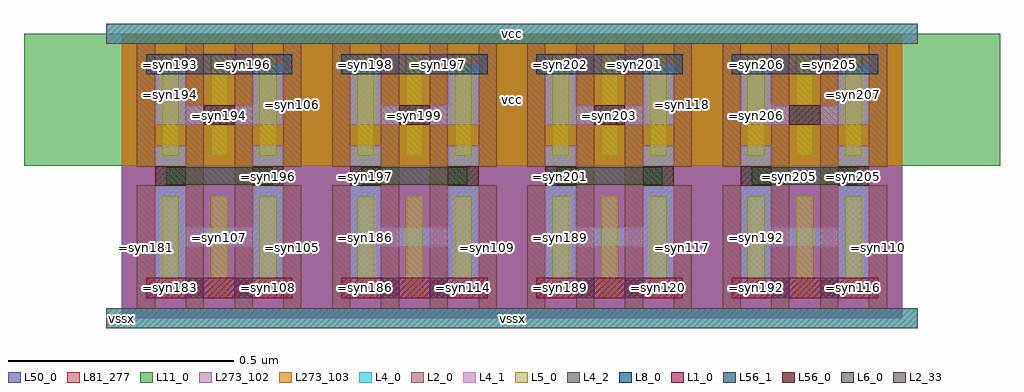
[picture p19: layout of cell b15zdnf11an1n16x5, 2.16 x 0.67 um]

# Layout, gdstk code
import gdstk
lib = gdstk.Library(unit=1e-6, precision=5e-10)
def R(c, l, rs):  # rectangles x0, y0, x1, y1
    for r in rs: c.add(gdstk.rectangle(r[:2], r[2:], *l))
def A(c, l, x, y, w, h, nx, ny, dx, dy):  # array of equal rectangles
    R(c, l, [(x+i*dx, y+j*dy, x+i*dx+w, y+j*dy+h) for i in range(nx) for j in range(ny)])
def P(c, l, *ps):  # polygons
    for p in ps: c.add(gdstk.Polygon(p, *l))
L1_0 = (1, 0)
L2_0 = (2, 0)
L2_33 = (2, 33)
L4_0 = (4, 0)
L4_1 = (4, 1)
L4_2 = (4, 2)
L5_0 = (5, 0)
L6_0 = (6, 0)
L8_0 = (8, 0)
L11_0 = (11, 0)
L50_0 = (50, 0)
L56_0 = (56, 0)
L56_1 = (56, 1)
L81_277 = (81, 277)
L273_102 = (273, 102)
L273_103 = (273, 103)

b15zdnf11an1n16x5 = lib.new_cell('b15zdnf11an1n16x5')
A(b15zdnf11an1n16x5, L1_0, 0.054, 0.045, 0.324, 0.045, 4, 1, 0.432, 0)
R(b15zdnf11an1n16x5, L2_0, [(0.034,0.021,0.074,0.294), (0.142,0.021,0.182,0.609), (0.25,0.021,0.29,0.609), (0.358,0.021,0.398,0.294), (0.466,0.021,0.506,0.294), (0.574,0.021,0.614,0.609), (0.682,0.021,0.722,0.609), (0.79,0.021,0.83,0.294), (0.898,0.021,0.938,0.294), (1.006,0.021,1.046,0.609), (1.114,0.021,1.154,0.609), (1.222,0.021,1.262,0.294), (1.33,0.021,1.37,0.294), (1.438,0.021,1.478,0.609), (1.546,0.021,1.586,0.609), (1.654,0.021,1.694,0.294), (0.034,0.336,0.074,0.609), (0.358,0.336,0.398,0.609), (0.466,0.336,0.506,0.609), (0.79,0.336,0.83,0.609), (0.898,0.336,0.938,0.609), (1.222,0.336,1.262,0.609), (1.33,0.336,1.37,0.609), (1.654,0.336,1.694,0.609)])
R(b15zdnf11an1n16x5, L2_33, [(0.142,0.045,0.182,0.09), (0.25,0.045,0.29,0.09), (0.574,0.045,0.614,0.09), (0.682,0.045,0.722,0.09), (1.006,0.045,1.046,0.09), (1.114,0.045,1.154,0.09), (1.438,0.045,1.478,0.09), (1.546,0.045,1.586,0.09), (0.142,0.54,0.182,0.585), (0.25,0.54,0.29,0.585), (0.574,0.54,0.614,0.585), (0.682,0.54,0.722,0.585), (1.006,0.54,1.046,0.585), (1.114,0.54,1.154,0.585), (1.438,0.54,1.478,0.585), (1.546,0.54,1.586,0.585)])
R(b15zdnf11an1n16x5, L4_0, [(-0.034,-0.022,1.762,0.022), (-0.034,0.608,1.762,0.652)])
P(b15zdnf11an1n16x5, L4_0, [(0.358,0.428),(0.074,0.428),(0.074,0.562),(0.142,0.562),(0.142,0.472),(0.29,0.472),(0.29,0.562),(0.358,0.562)],
  [(0.358,0.068),(0.29,0.068),(0.29,0.158),(0.142,0.158),(0.142,0.068),(0.074,0.068),(0.074,0.382),(0.142,0.382),(0.142,0.202),(0.29,0.202),(0.29,0.382),(0.358,0.382)],
  [(0.79,0.428),(0.506,0.428),(0.506,0.562),(0.574,0.562),(0.574,0.472),(0.722,0.472),(0.722,0.562),(0.79,0.562)],
  [(0.79,0.068),(0.722,0.068),(0.722,0.158),(0.574,0.158),(0.574,0.068),(0.506,0.068),(0.506,0.382),(0.574,0.382),(0.574,0.202),(0.722,0.202),(0.722,0.382),(0.79,0.382)],
  [(1.222,0.428),(0.938,0.428),(0.938,0.562),(1.006,0.562),(1.006,0.472),(1.154,0.472),(1.154,0.562),(1.222,0.562)],
  [(1.222,0.068),(1.154,0.068),(1.154,0.158),(1.006,0.158),(1.006,0.068),(0.938,0.068),(0.938,0.382),(1.006,0.382),(1.006,0.202),(1.154,0.202),(1.154,0.382),(1.222,0.382)],
  [(1.654,0.428),(1.37,0.428),(1.37,0.562),(1.438,0.562),(1.438,0.472),(1.586,0.472),(1.586,0.562),(1.654,0.562)],
  [(1.654,0.068),(1.586,0.068),(1.586,0.158),(1.438,0.158),(1.438,0.068),(1.37,0.068),(1.37,0.382),(1.438,0.382),(1.438,0.202),(1.586,0.202),(1.586,0.382),(1.654,0.382)])
P(b15zdnf11an1n16x5, L4_1, [(0.358,0.428),(0.074,0.428),(0.074,0.562),(0.142,0.562),(0.142,0.472),(0.29,0.472),(0.29,0.562),(0.358,0.562)],
  [(0.358,0.068),(0.29,0.068),(0.29,0.158),(0.142,0.158),(0.142,0.068),(0.074,0.068),(0.074,0.382),(0.142,0.382),(0.142,0.202),(0.29,0.202),(0.29,0.382),(0.358,0.382)],
  [(0.79,0.428),(0.506,0.428),(0.506,0.562),(0.574,0.562),(0.574,0.472),(0.722,0.472),(0.722,0.562),(0.79,0.562)],
  [(0.79,0.068),(0.722,0.068),(0.722,0.158),(0.574,0.158),(0.574,0.068),(0.506,0.068),(0.506,0.382),(0.574,0.382),(0.574,0.202),(0.722,0.202),(0.722,0.382),(0.79,0.382)],
  [(1.222,0.428),(0.938,0.428),(0.938,0.562),(1.006,0.562),(1.006,0.472),(1.154,0.472),(1.154,0.562),(1.222,0.562)],
  [(1.222,0.068),(1.154,0.068),(1.154,0.158),(1.006,0.158),(1.006,0.068),(0.938,0.068),(0.938,0.382),(1.006,0.382),(1.006,0.202),(1.154,0.202),(1.154,0.382),(1.222,0.382)],
  [(1.654,0.428),(1.37,0.428),(1.37,0.562),(1.438,0.562),(1.438,0.472),(1.586,0.472),(1.586,0.562),(1.654,0.562)],
  [(1.654,0.068),(1.586,0.068),(1.586,0.158),(1.438,0.158),(1.438,0.068),(1.37,0.068),(1.37,0.382),(1.438,0.382),(1.438,0.202),(1.586,0.202),(1.586,0.382),(1.654,0.382)])
R(b15zdnf11an1n16x5, L4_2, [(-0.034,-0.022,1.762,0.022), (-0.034,0.608,1.762,0.652)])
A(b15zdnf11an1n16x5, L5_0, 0.089, 0.045, 0.038, 0.225, 3, 2, 0.108, 0.315)
A(b15zdnf11an1n16x5, L5_0, 0.521, 0.045, 0.038, 0.225, 3, 2, 0.108, 0.315)
A(b15zdnf11an1n16x5, L5_0, 0.953, 0.045, 0.038, 0.225, 3, 2, 0.108, 0.315)
A(b15zdnf11an1n16x5, L5_0, 1.385, 0.045, 0.038, 0.225, 3, 2, 0.108, 0.315)
A(b15zdnf11an1n16x5, L6_0, 0.099, 0.296, 0.234, 0.038, 4, 1, 0.432, 0)
A(b15zdnf11an1n16x5, L8_0, 0.054, 0.54, 0.324, 0.045, 4, 1, 0.432, 0)
R(b15zdnf11an1n16x5, L11_0, [(-0.216,0.3375,1.944,0.63)])
R(b15zdnf11an1n16x5, L50_0, [(0,0,1.728,0.63)])
A(b15zdnf11an1n16x5, L56_0, 0.074, 0.293, 0.068, 0.044, 8, 1, 0.216, 0)
A(b15zdnf11an1n16x5, L56_0, 0.182, 0.428, 0.068, 0.044, 4, 1, 0.432, 0)
A(b15zdnf11an1n16x5, L56_1, 0.074, 0.293, 0.068, 0.044, 8, 1, 0.216, 0)
A(b15zdnf11an1n16x5, L56_1, 0.182, 0.428, 0.068, 0.044, 4, 1, 0.432, 0)
R(b15zdnf11an1n16x5, L81_277, [(0,0,1.728,0.63)])
R(b15zdnf11an1n16x5, L273_102, [(0,0,1.728,0.3375)])
R(b15zdnf11an1n16x5, L273_103, [(0,0.3375,1.728,0.63)])
b15zdnf11an1n16x5.add(gdstk.Label('vssx', (0,0), layer=81, texttype=6))
b15zdnf11an1n16x5.add(gdstk.Label('vcc', (0.864,0.484), layer=11, texttype=0))
b15zdnf11an1n16x5.add(gdstk.Label('=syn193', (0.108,0.5625), layer=8, texttype=0))
b15zdnf11an1n16x5.add(gdstk.Label('=syn198', (0.54,0.5625), layer=8, texttype=0))
b15zdnf11an1n16x5.add(gdstk.Label('=syn202', (0.972,0.5625), layer=8, texttype=0))
b15zdnf11an1n16x5.add(gdstk.Label('=syn206', (1.404,0.5625), layer=8, texttype=0))
b15zdnf11an1n16x5.add(gdstk.Label('=syn194', (0.108,0.495), layer=4, texttype=0))
b15zdnf11an1n16x5.add(gdstk.Label('=syn196', (0.324,0.315), layer=4, texttype=0))
b15zdnf11an1n16x5.add(gdstk.Label('=syn199', (0.648,0.45), layer=4, texttype=0))
b15zdnf11an1n16x5.add(gdstk.Label('=syn197', (0.54,0.315), layer=4, texttype=0))
b15zdnf11an1n16x5.add(gdstk.Label('=syn203', (1.08,0.45), layer=4, texttype=0))
b15zdnf11an1n16x5.add(gdstk.Label('=syn201', (0.972,0.315), layer=4, texttype=0))
b15zdnf11an1n16x5.add(gdstk.Label('=syn207', (1.62,0.495), layer=4, texttype=0))
b15zdnf11an1n16x5.add(gdstk.Label('=syn205', (1.62,0.315), layer=4, texttype=0))
b15zdnf11an1n16x5.add(gdstk.Label('vcc', (0.864,0.63), layer=4, texttype=0))
b15zdnf11an1n16x5.add(gdstk.Label('vssx', (0.864,0), layer=4, texttype=0))
b15zdnf11an1n16x5.add(gdstk.Label('vcc', (0.864,0.63), layer=4, texttype=2))
b15zdnf11an1n16x5.add(gdstk.Label('vssx', (0.864,0), layer=4, texttype=2))
b15zdnf11an1n16x5.add(gdstk.Label('=syn182', (0.054,0.4725), layer=2, texttype=0))
b15zdnf11an1n16x5.add(gdstk.Label('=syn181', (0.054,0.1575), layer=2, texttype=0))
b15zdnf11an1n16x5.add(gdstk.Label('=syn196', (0.162,0.5625), layer=2, texttype=0))
b15zdnf11an1n16x5.add(gdstk.Label('=syn196', (0.27,0.5625), layer=2, texttype=0))
b15zdnf11an1n16x5.add(gdstk.Label('=syn106', (0.378,0.4725), layer=2, texttype=0))
b15zdnf11an1n16x5.add(gdstk.Label('=syn105', (0.378,0.1575), layer=2, texttype=0))
b15zdnf11an1n16x5.add(gdstk.Label('=syn185', (0.486,0.4725), layer=2, texttype=0))
b15zdnf11an1n16x5.add(gdstk.Label('=syn184', (0.486,0.1575), layer=2, texttype=0))
b15zdnf11an1n16x5.add(gdstk.Label('=syn197', (0.594,0.5625), layer=2, texttype=0))
b15zdnf11an1n16x5.add(gdstk.Label('=syn197', (0.702,0.5625), layer=2, texttype=0))
b15zdnf11an1n16x5.add(gdstk.Label('=syn111', (0.81,0.4725), layer=2, texttype=0))
b15zdnf11an1n16x5.add(gdstk.Label('=syn109', (0.81,0.1575), layer=2, texttype=0))
b15zdnf11an1n16x5.add(gdstk.Label('=syn188', (0.918,0.4725), layer=2, texttype=0))
b15zdnf11an1n16x5.add(gdstk.Label('=syn187', (0.918,0.1575), layer=2, texttype=0))
b15zdnf11an1n16x5.add(gdstk.Label('=syn201', (1.026,0.5625), layer=2, texttype=0))
b15zdnf11an1n16x5.add(gdstk.Label('=syn201', (1.134,0.5625), layer=2, texttype=0))
b15zdnf11an1n16x5.add(gdstk.Label('=syn118', (1.242,0.4725), layer=2, texttype=0))
b15zdnf11an1n16x5.add(gdstk.Label('=syn117', (1.242,0.1575), layer=2, texttype=0))
b15zdnf11an1n16x5.add(gdstk.Label('=syn191', (1.35,0.4725), layer=2, texttype=0))
b15zdnf11an1n16x5.add(gdstk.Label('=syn190', (1.35,0.1575), layer=2, texttype=0))
b15zdnf11an1n16x5.add(gdstk.Label('=syn205', (1.458,0.5625), layer=2, texttype=0))
b15zdnf11an1n16x5.add(gdstk.Label('=syn205', (1.566,0.5625), layer=2, texttype=0))
b15zdnf11an1n16x5.add(gdstk.Label('=syn112', (1.674,0.4725), layer=2, texttype=0))
b15zdnf11an1n16x5.add(gdstk.Label('=syn110', (1.674,0.1575), layer=2, texttype=0))
b15zdnf11an1n16x5.add(gdstk.Label('=syn183', (0.108,0.0675), layer=1, texttype=0))
b15zdnf11an1n16x5.add(gdstk.Label('=syn186', (0.54,0.0675), layer=1, texttype=0))
b15zdnf11an1n16x5.add(gdstk.Label('=syn189', (0.972,0.0675), layer=1, texttype=0))
b15zdnf11an1n16x5.add(gdstk.Label('=syn192', (1.404,0.0675), layer=1, texttype=0))
b15zdnf11an1n16x5.add(gdstk.Label('=syn196', (0.324,0.315), layer=6, texttype=0))
b15zdnf11an1n16x5.add(gdstk.Label('=syn197', (0.54,0.315), layer=6, texttype=0))
b15zdnf11an1n16x5.add(gdstk.Label('=syn201', (0.972,0.315), layer=6, texttype=0))
b15zdnf11an1n16x5.add(gdstk.Label('=syn205', (1.478,0.315), layer=6, texttype=0))
b15zdnf11an1n16x5.add(gdstk.Label('=syn193', (0.108,0.5625), layer=5, texttype=0))
b15zdnf11an1n16x5.add(gdstk.Label('=syn183', (0.108,0.18), layer=5, texttype=0))
b15zdnf11an1n16x5.add(gdstk.Label('=syn194', (0.216,0.45), layer=5, texttype=0))
b15zdnf11an1n16x5.add(gdstk.Label('=syn107', (0.216,0.18), layer=5, texttype=0))
b15zdnf11an1n16x5.add(gdstk.Label('=syn195', (0.324,0.4725), layer=5, texttype=0))
b15zdnf11an1n16x5.add(gdstk.Label('=syn108', (0.324,0.0675), layer=5, texttype=0))
b15zdnf11an1n16x5.add(gdstk.Label('=syn198', (0.54,0.5625), layer=5, texttype=0))
b15zdnf11an1n16x5.add(gdstk.Label('=syn186', (0.54,0.18), layer=5, texttype=0))
b15zdnf11an1n16x5.add(gdstk.Label('=syn199', (0.648,0.45), layer=5, texttype=0))
b15zdnf11an1n16x5.add(gdstk.Label('=syn113', (0.648,0.0675), layer=5, texttype=0))
b15zdnf11an1n16x5.add(gdstk.Label('=syn200', (0.756,0.4725), layer=5, texttype=0))
b15zdnf11an1n16x5.add(gdstk.Label('=syn114', (0.756,0.0675), layer=5, texttype=0))
b15zdnf11an1n16x5.add(gdstk.Label('=syn202', (0.972,0.5625), layer=5, texttype=0))
b15zdnf11an1n16x5.add(gdstk.Label('=syn189', (0.972,0.18), layer=5, texttype=0))
b15zdnf11an1n16x5.add(gdstk.Label('=syn203', (1.08,0.45), layer=5, texttype=0))
b15zdnf11an1n16x5.add(gdstk.Label('=syn119', (1.08,0.0675), layer=5, texttype=0))
b15zdnf11an1n16x5.add(gdstk.Label('=syn204', (1.188,0.4725), layer=5, texttype=0))
b15zdnf11an1n16x5.add(gdstk.Label('=syn120', (1.188,0.0675), layer=5, texttype=0))
b15zdnf11an1n16x5.add(gdstk.Label('=syn206', (1.404,0.45), layer=5, texttype=0))
b15zdnf11an1n16x5.add(gdstk.Label('=syn192', (1.404,0.18), layer=5, texttype=0))
b15zdnf11an1n16x5.add(gdstk.Label('=syn207', (1.512,0.45), layer=5, texttype=0))
b15zdnf11an1n16x5.add(gdstk.Label('=syn115', (1.512,0.0675), layer=5, texttype=0))
b15zdnf11an1n16x5.add(gdstk.Label('=syn208', (1.62,0.4725), layer=5, texttype=0))
b15zdnf11an1n16x5.add(gdstk.Label('=syn116', (1.62,0.0675), layer=5, texttype=0))

lib.write_gds('b15zdnf11an1n16x5.gds')
